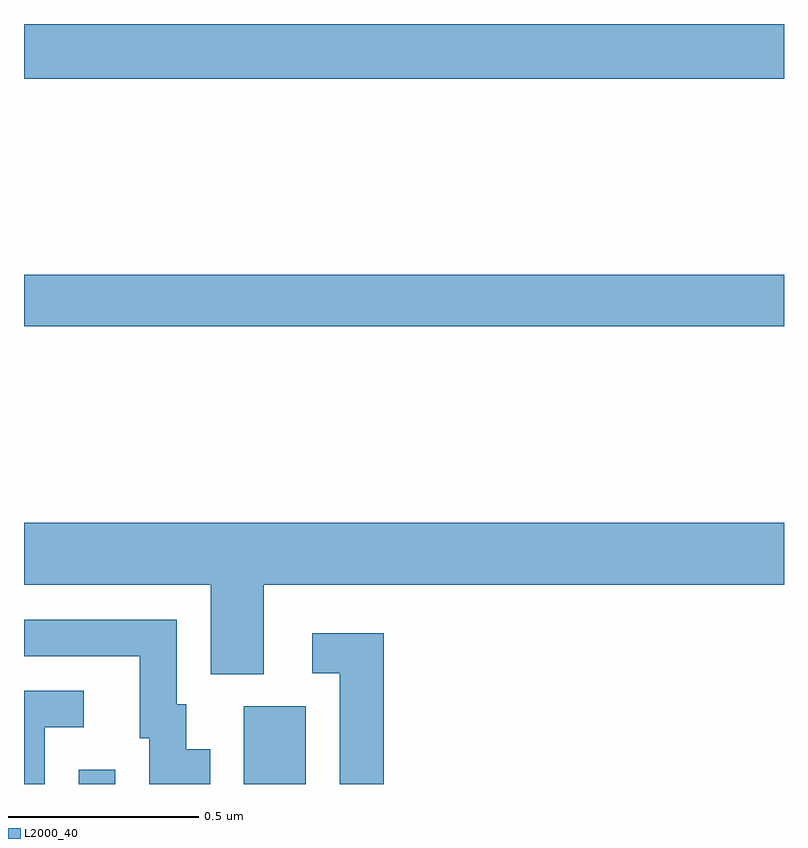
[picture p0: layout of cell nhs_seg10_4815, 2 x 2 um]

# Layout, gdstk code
import gdstk
lib = gdstk.Library(unit=1e-6, precision=1e-09)
def R(c, l, rs):  # rectangles x0, y0, x1, y1
    for r in rs: c.add(gdstk.rectangle(r[:2], r[2:], *l))
def P(c, l, *ps):  # polygons
    for p in ps: c.add(gdstk.Polygon(p, *l))
L2000_40 = (2000, 40)

nhs_seg10_4815 = lib.new_cell('nhs_seg10_4815')
R(nhs_seg10_4815, L2000_40, [(171.144,1258.5,171.24,1258.537), (171.578,1258.5,171.742,1258.704), (171,1259.704,173,1259.84), (171,1260.356,173,1260.5)])
P(nhs_seg10_4815, L2000_40, [(171.631,1259.024),(173,1259.024),(173,1259.188),(171,1259.188),(171,1259.024),(171.491,1259.024),(171.491,1258.789),(171.631,1258.789)],
  [(171.49,1258.591),(171.427,1258.591),(171.427,1258.71),(171.402,1258.71),(171.402,1258.932),(171,1258.932),(171,1258.836),(171.305,1258.836),(171.305,1258.62),(171.329,1258.62),(171.329,1258.5),(171.49,1258.5)],
  [(171.947,1258.897),(171.759,1258.897),(171.759,1258.791),(171.831,1258.791),(171.831,1258.5),(171.947,1258.5)],
  [(171.054,1258.65),(171.157,1258.65),(171.157,1258.746),(171,1258.746),(171,1258.5),(171.054,1258.5)])

lib.write_gds('nhs_seg10_4815.gds')
